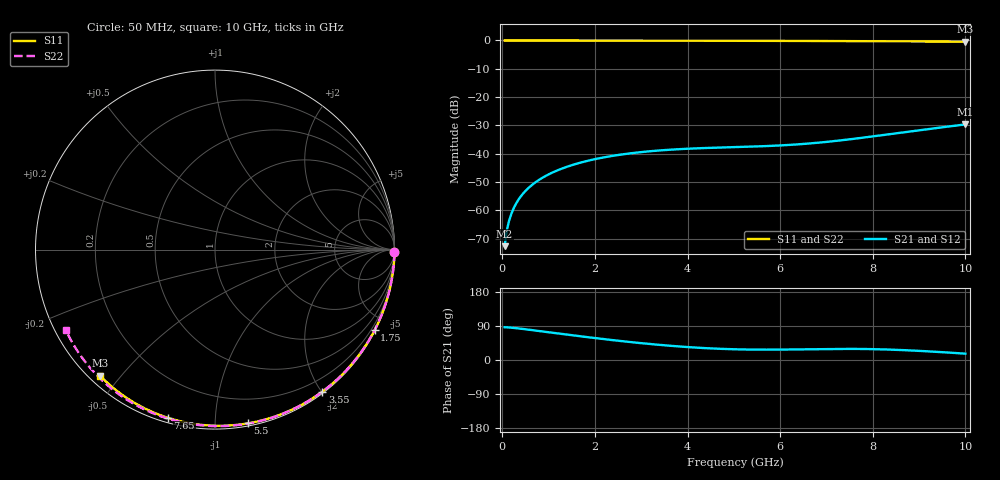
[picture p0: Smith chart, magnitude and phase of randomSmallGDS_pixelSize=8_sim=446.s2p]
! freq	dB(S11)	phase(S11)	dB(S12)	phase(S12)
!  dB(S21)	phase(S21)	dB(S22)	phase(S22)
!S-par simulation data
#  GHz  S  DB  R 50
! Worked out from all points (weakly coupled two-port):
!   200 points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, 50 MHz to 10 GHz, reference 50 ohm
!   highest |S21| = -29.64 dB at 10 GHz (marker M1); lowest = -72.6 dB at 50 MHz (marker M2)
!   lowest |S11| = -0.4 dB at 10 GHz (marker M3), VSWR 39.56, Z = 1.51 - j22.1 ohm
!   |S11| at or under -10 dB: nowhere
!   |S22| runs from -0.5 to 0.0 dB; largest |S21 - S12| = 0
!   S11 on the Smith chart (normalised r, x): 50 MHz: open; 1.75 GHz: 0.04, -4.21; 3.55 GHz: 0.02, -2.01; 5.5 GHz: 0.02, -1.21; 7.65 GHz: 0.02, -0.76; 10 GHz: 0.03, -0.44
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0.05  -0.00 -0.8  -72.60 86.5  -72.60 86.5  -0.00 -0.9
0.1  -0.00 -1.6  -66.84 86.0  -66.84 86.0  -0.00 -1.8
0.15  -0.00 -2.3  -63.42 85.7  -63.42 85.7  -0.00 -2.7
0.2  -0.00 -3.1  -60.97 85.2  -60.97 85.2  -0.00 -3.6
0.25  -0.00 -3.9  -59.06 84.6  -59.06 84.6  -0.00 -4.5
0.35  -0.00 -5.4  -56.17 83.3  -56.17 83.3  -0.00 -6.3
0.5  -0.01 -7.8  -53.11 81.1  -53.11 81.1  -0.01 -9.0
0.7  -0.01 -10.8  -50.25 78.0  -50.25 78.0  -0.01 -12.6
1  -0.02 -15.4  -47.26 73.3  -47.26 73.3  -0.02 -17.9
1.35  -0.03 -20.7  -44.84 67.8  -44.84 67.8  -0.03 -24.1
1.75  -0.03 -26.7  -42.85 61.6  -42.85 61.6  -0.04 -31.0
2.5  -0.05 -37.9  -40.42 50.9  -40.42 50.9  -0.06 -43.9
3.4  -0.07 -50.8  -38.81 39.8  -38.81 39.8  -0.08 -58.7
3.55  -0.07 -52.9  -38.63 38.3  -38.63 38.3  -0.08 -61.2
4.3  -0.09 -63.3  -38.01 31.9  -38.01 31.9  -0.10 -73.0
5.05  -0.11 -73.4  -37.63 28.2  -37.63 28.2  -0.13 -84.4
5.5  -0.13 -79.2  -37.40 27.4  -37.40 27.4  -0.15 -91.0
6.7  -0.18 -94.3  -36.26 28.6  -36.26 28.6  -0.21 -108.0
7.65  -0.24 -105.6  -34.59 29.3  -34.59 29.3  -0.27 -120.9
8.35  -0.29 -113.8  -33.11 27.5  -33.11 27.5  -0.33 -130.2
9.2  -0.36 -123.4  -31.27 22.8  -31.27 22.8  -0.41 -141.3
10  -0.44 -132.3  -29.64 16.7  -29.64 16.7  -0.50 -151.8
